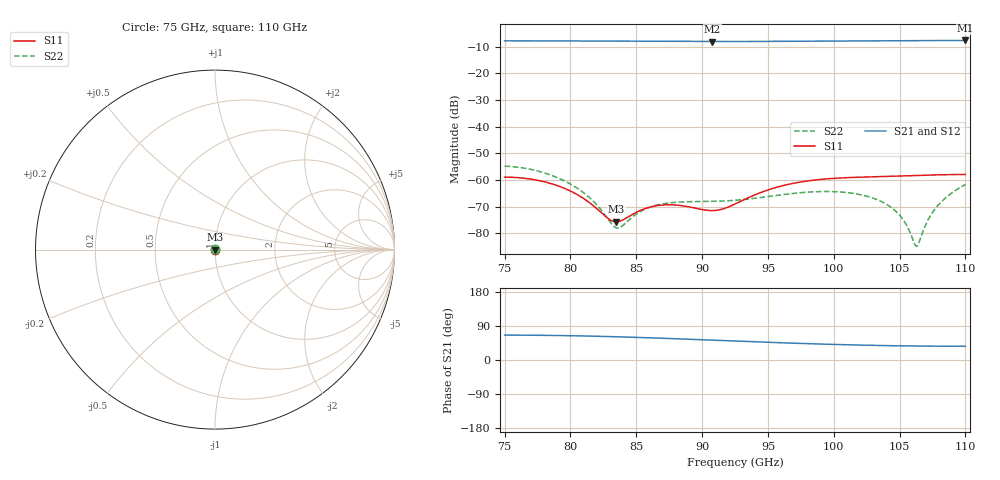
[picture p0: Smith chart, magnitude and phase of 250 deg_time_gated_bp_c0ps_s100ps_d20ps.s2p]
# Hz S RI R 50.000000
! Metas.Vna.Tools, 2.4.7724.19584
! Metas.Vna.Data, 2.4.7724.19560
! Created: UTC 2021.04.29 12:40:11
! FREQ  re:S1,1  im:S1,1  re:S2,1  im:S2,1  re:S1,2  im:S1,2  re:S2,2  im:S2,2
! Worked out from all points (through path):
!   1401 points, 75 GHz to 110 GHz, reference 50 ohm
!   highest |S21| = -7.68 dB at 110 GHz (marker M1); lowest = -8.1 dB at 90.78 GHz (marker M2)
!   lowest |S11| = -75.7 dB at 83.47 GHz (marker M3), VSWR 1.00, Z = 50 + j0.00299 ohm
!   |S11| at or under -10 dB: start of sweep to end of sweep
!   |S22| runs from -84.9 to -54.8 dB; largest |S21 - S12| = 0.012
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7.5e10  -0.000125 -0.00112  0.1673 0.3705  0.1576 0.3775  -0.000541 0.00173
7.815e10  -0.000156 -0.000891  0.1709 0.3676  0.1612 0.3748  -0.000557 0.0012
8.085e10  -0.00019 -0.000434  0.1794 0.3608  0.1698 0.3682  -0.000347 0.000505
8.19e10  -0.000189 -0.000238  0.1839 0.3572  0.1744 0.3646  -0.000251 0.000261
8.29e10  -0.000175 -6.2e-05  0.1887 0.3533  0.1794 0.3608  -0.000166 6.16e-05
8.3475e10  -0.000161 2.99e-05  0.1918 0.3509  0.1826 0.3584  -0.000121 -3.54e-05
8.3875e10  -0.000148 8.85e-05  0.194 0.3491  0.1848 0.3566  -9.31e-05 -9.48e-05
8.54e10  -8e-05 0.000261  0.203 0.3419  0.1943 0.3495  -6.44e-06 -0.000263
8.6675e10  -2.89e-06 0.000332  0.2113 0.3354  0.2029 0.3429  4e-05 -0.000339
8.8125e10  9.6e-05 0.000322  0.2213 0.3275  0.2135 0.3348  7.01e-05 -0.000376
9.0775e10  0.000254 7.85e-05  0.2407 0.3125  0.2342 0.3192  0.0001 -0.000384
9.25e10  0.000299 -0.000187  0.2536 0.3027  0.2481 0.3086  0.000131 -0.000393
9.5325e10  0.00022 -0.000651  0.2742 0.2871  0.2709 0.2916  0.000232 -0.000441
9.835e10  -7.46e-05 -0.000978  0.2944 0.272  0.2937 0.2746  0.00037 -0.000467
1.0175e11  -0.000535 -0.000984  0.3131 0.2584  0.3152 0.2586  0.000418 -0.000348
1.04175e11  -0.00084 -0.000807  0.3232 0.2512  0.3269 0.25  0.000288 -0.000158
1.0505e11  -0.000931 -0.000728  0.326 0.2491  0.3302 0.2475  0.000198 -7.57e-05
1.05875e11  -0.00101 -0.000655  0.3283 0.2475  0.3329 0.2456  9.2e-05 5.82e-06
1.06575e11  -0.00106 -0.000598  0.3299 0.2464  0.3348 0.2441  -1.34e-05 7.69e-05
1.0745e11  -0.00111 -0.000536  0.3315 0.2452  0.3367 0.2427  -0.000164 0.000167
1.0805e11  -0.00114 -0.000502  0.3323 0.2446  0.3377 0.242  -0.000278 0.00023
1.1e11  -0.00118 -0.000451  0.3335 0.2438  0.3391 0.241  -0.000691 0.000438
